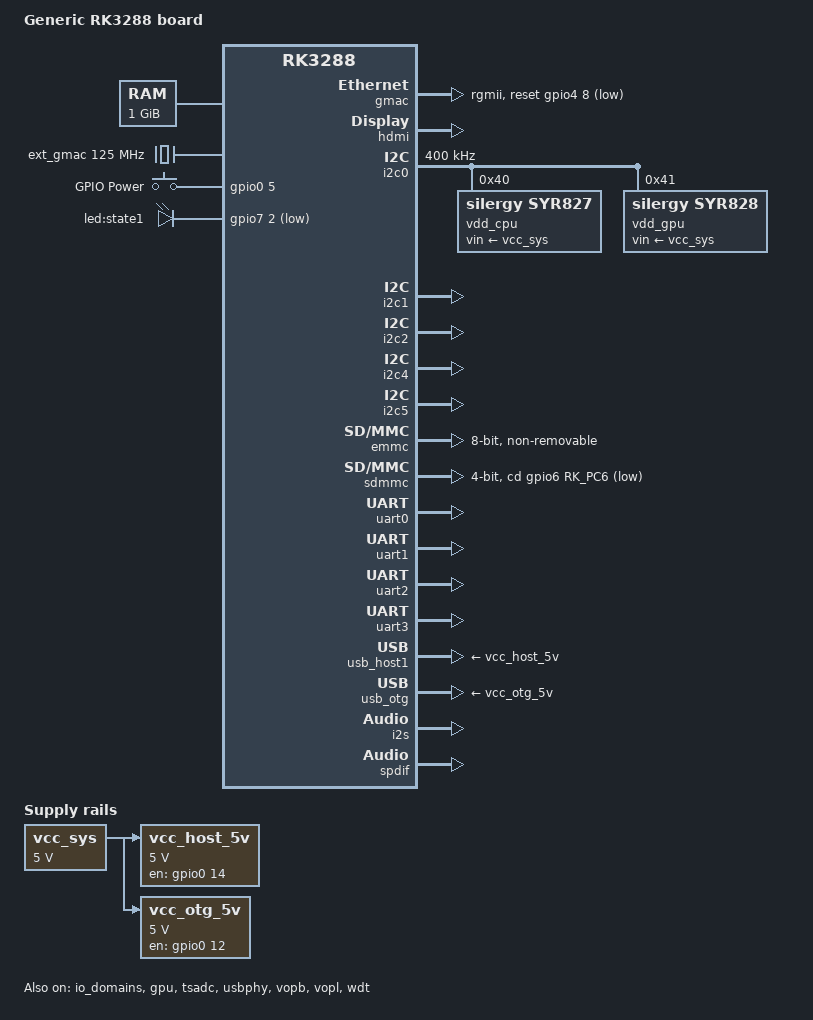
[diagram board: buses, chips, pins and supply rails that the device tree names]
/*
 * Copyright (c) 2014, 2015 FUKAUMI Naoki <naobsd@gmail.com>
 * 					   2018 Paolo Sabatino <paolo.sabatino@gm**l.com>
 *
 * This file is dual-licensed: you can use it either under the terms
 * of the GPL or the X11 license, at your option. Note that this dual
 * licensing only applies to this file, and not this project as a
 * whole.
 *
 *  a) This file is free software; you can redistribute it and/or
 *     modify it under the terms of the GNU General Public License as
 *     published by the Free Software Foundation; either version 2 of the
 *     License, or (at your option) any later version.
 *
 *     This file is distributed in the hope that it will be useful,
 *     but WITHOUT ANY WARRANTY; without even the implied warranty of
 *     MERCHANTABILITY or FITNESS FOR A PARTICULAR PURPOSE.  See the
 *     GNU General Public License for more details.
 *
 * Or, alternatively,
 *
 *  b) Permission is hereby granted, free of charge, to any person
 *     obtaining a copy of this software and associated documentation
 *     files (the "Software"), to deal in the Software without
 *     restriction, including without limitation the rights to use,
 *     copy, modify, merge, publish, distribute, sublicense, and/or
 *     sell copies of the Software, and to permit persons to whom the
 *     Software is furnished to do so, subject to the following
 *     conditions:
 *
 *     The above copyright notice and this permission notice shall be
 *     included in all copies or substantial portions of the Software.
 *
 *     THE SOFTWARE IS PROVIDED "AS IS", WITHOUT WARRANTY OF ANY KIND,
 *     EXPRESS OR IMPLIED, INCLUDING BUT NOT LIMITED TO THE WARRANTIES
 *     OF MERCHANTABILITY, FITNESS FOR A PARTICULAR PURPOSE AND
 *     NONINFRINGEMENT. IN NO EVENT SHALL THE AUTHORS OR COPYRIGHT
 *     HOLDERS BE LIABLE FOR ANY CLAIM, DAMAGES OR OTHER LIABILITY,
 *     WHETHER IN AN ACTION OF CONTRACT, TORT OR OTHERWISE, ARISING
 *     FROM, OUT OF OR IN CONNECTION WITH THE SOFTWARE OR THE USE OR
 *     OTHER DEALINGS IN THE SOFTWARE.
 */

/dts-v1/;

#include "rk3288.dtsi"
#include <dt-bindings/input/input.h>

/ {
	model = "Generic RK3288 board";
	compatible = "rockchip,rk3288";

	memory@0 {
		reg = <0x0 0x0 0x0 0x40000000>;
		device_type = "memory";
	};

	ext_gmac: external-gmac-clock {
		compatible = "fixed-clock";
		#clock-cells = <0>;
		clock-frequency = <125000000>;
		clock-output-names = "ext_gmac";
	};

	keys: gpio-keys {
		compatible = "gpio-keys";
		#address-cells = <1>;
		#size-cells = <0>;

		pinctrl-names = "default";
		pinctrl-0 = <&pwr_key>;

		button@0 {
			gpio-key,wakeup = <1>;
			gpios = <&gpio0 5 GPIO_ACTIVE_HIGH>;
			label = "GPIO Power";
			linux,code = <KEY_POWER>;
			wakeup-source;
			debounce-interval = <100>;
		};

	};

	leds {
		compatible = "gpio-leds";

		power {
			/*
				Power led is active high, but we set it here active low
				so while there is mass storage access it turns red and
				when it is idle is blue
			*/
			gpios = <&gpio7 2 GPIO_ACTIVE_LOW>;
			label = "led:state1";
			linux,default-trigger = "timer";
			pinctrl-names = "default";
			pinctrl-0 = <&power_led>;
		};

	};

	vcc_sys: vsys-regulator {
		compatible = "regulator-fixed";
		regulator-name = "vcc_sys";
		regulator-min-microvolt = <5000000>;
		regulator-max-microvolt = <5000000>;
		regulator-always-on;
		regulator-boot-on;
	};

	vcc_host_5v: usb-host-regulator {
		compatible = "regulator-fixed";
		gpio = <&gpio0 14 GPIO_ACTIVE_HIGH>;
		regulator-name = "vcc_host_5v";
		regulator-min-microvolt = <5000000>;
		regulator-max-microvolt = <5000000>;
		regulator-boot-on;
		enable-active-high;
		vin-supply = <&vcc_sys>;
	};


	vcc_otg_5v: usb-otg-regulator {
		compatible = "regulator-fixed";
		gpio = <&gpio0 12 GPIO_ACTIVE_HIGH>;
		regulator-name = "vcc_otg_5v";
		regulator-min-microvolt = <5000000>;
		regulator-max-microvolt = <5000000>;
		regulator-boot-on;
		enable-active-high;
		vin-supply = <&vcc_sys>;
	};

};


&io_domains {
	status = "okay";

};

&cpu0 {
	cpu0-supply = <&vdd_cpu>;
};

&gmac {
	assigned-clocks = <&cru SCLK_MAC>;
	assigned-clock-parents = <&ext_gmac>;
	clock_in_out = "input";
	pinctrl-names = "default";
	pinctrl-0 = <&rgmii_pins>, <&phy_rst>, <&phy_pmeb>, <&phy_int>;
	phy-mode = "rgmii";
	snps,reset-active-low;
	snps,reset-delays-us = <0 10000 1000000>;
	snps,reset-gpio = <&gpio4 8 GPIO_ACTIVE_LOW>;
	tx_delay = <0x30>;
	rx_delay = <0x10>;
	status = "okay";
};

&hdmi {
	ddc-i2c-bus = <&i2c5>;
	status = "okay";
};

&gpu {
	mali-supply = <&vdd_gpu>;
	status = "okay";
};

&i2c0 {
	clock-frequency = <400000>;
	status = "okay";

	vdd_cpu: syr827@40 {
		compatible = "silergy,syr827";
		fcs,suspend-voltage-selector = <1>;
		reg = <0x40>;
		regulator-name = "vdd_cpu";
		regulator-min-microvolt = <850000>;
		regulator-max-microvolt = <1350000>;
		regulator-ramp-delay = <8000>;
		regulator-always-on;
		regulator-boot-on;
		vin-supply = <&vcc_sys>;
		regulator-state-mem {
			regulator-off-in-suspend;
		};
	};

	vdd_gpu: syr828@41 {
		compatible = "silergy,syr828";
		fcs,suspend-voltage-selector = <1>;
		reg = <0x41>;
		regulator-name = "vdd_gpu";
		regulator-min-microvolt = <850000>;
		regulator-max-microvolt = <1350000>;
		regulator-ramp-delay = <8000>;
		regulator-always-on;
		vin-supply = <&vcc_sys>;
		regulator-state-mem {
			regulator-off-in-suspend;
		};
	};


};

&i2c1 {
	status = "okay";
};

&i2c2 {
	status = "okay";
};

&i2c4 {
	status = "okay";
};

&i2c5 {
	status = "okay";
};

&pinctrl {

	/*
		These two lines here, these must be commented out! Otherwise for some reason the kernel
		does not see the boot device anymore and will stay stuck in initramfs!
		On the contrary, these are required by u-boot to keep the power holding so the device does not
		automatically turns off after a small timeout
	*/
	/*pinctrl-names = "default";*/
	/*pinctrl-0 = <&pwr_hold>;*/

	pcfg_output_high: pcfg-output-high {
		output-high;
	};

	pcfg_output_low: pcfg-output-low {
		output-low;
	};

	pcfg_wl: pcfg-wl {
		bias-pull-up;
		drive-strength = <8>;
	};

	pcfg_pull_up_drv_8ma: pcfg-pull-up-drv-8ma {
		bias-pull-up;
		drive-strength = <8>;
	};

	pcfg_pull_none_8ma: pcfg-pull-none-8ma {
		bias-disable;
		drive-strength = <8>;
	};

	pcfg_wl_clk: pcfg-wl-clk {
		bias-disable;
		drive-strength = <12>;
	};

	pcfg_wl_int: pcfg-wl-int {
		bias-pull-up;
	};

	gmac {
		phy_int: phy-int {
			rockchip,pins = <0 9 RK_FUNC_GPIO &pcfg_pull_up>;
		};

		phy_pmeb: phy-pmeb {
			rockchip,pins = <0 8 RK_FUNC_GPIO &pcfg_pull_up>;
		};

		phy_rst: phy-rst {
			rockchip,pins = <4 8 RK_FUNC_GPIO &pcfg_output_high>;
		};
	};

	hym8563 {
		rtc_int: rtc-int {
			rockchip,pins = <0 4 RK_FUNC_GPIO &pcfg_pull_up>;
		};
	};

	keys {
		pwr_key: pwr-key {
			rockchip,pins = <0 5 RK_FUNC_GPIO &pcfg_pull_none>;
		};
	};

	leds {
		power_led: power-led {
			rockchip,pins = <7 2 RK_FUNC_GPIO &pcfg_pull_none>;
		};
	};

	ir {
		ir_int: ir-int {
			rockchip,pins = <7 0 RK_FUNC_GPIO &pcfg_pull_up>;
		};
	};

	sdmmc {

		/*
		 * Copied from firefly board definition to give more drive to
		 * the sdmmc pins. The Q8 seems to be quite able to drive
		 * ultra high speed uSD cards, so we give a bit more energy
		 * to the gpio pins
		 */
		sdmmc_bus4: sdmmc-bus4 {
			rockchip,pins = <6 16 RK_FUNC_1 &pcfg_pull_up_drv_8ma>,
					<6 17 RK_FUNC_1 &pcfg_pull_up_drv_8ma>,
					<6 18 RK_FUNC_1 &pcfg_pull_up_drv_8ma>,
					<6 19 RK_FUNC_1 &pcfg_pull_up_drv_8ma>;
		};

		sdmmc_clk: sdmmc-clk {
			rockchip,pins = <6 20 RK_FUNC_1 &pcfg_pull_none_8ma>;
		};

		sdmmc_cmd: sdmmc-cmd {
			rockchip,pins = <6 21 RK_FUNC_1 &pcfg_pull_up_drv_8ma>;
		};

		sdmmc_pwr: sdmmc-pwr {
			rockchip,pins = <7 11 RK_FUNC_GPIO &pcfg_pull_none>;
		};

	};

	usb_host1 {
		host_vbus_drv: host-vbus-drv {
			rockchip,pins = <0 14 RK_FUNC_GPIO &pcfg_pull_none>;
		};

	};

	usb_otg {
		otg_vbus_drv: otg-vbus-drv {
			rockchip,pins = <0 12 RK_FUNC_GPIO &pcfg_pull_none>;
		};
	};

	wireless-bluetooth {
		uart0_gpios: uart0-gpios {
			rockchip,pins = <4 19 RK_FUNC_GPIO &pcfg_pull_none>;
		};
	};

	emmc {

		emmc_reset: emmc-reset {
			rockchip,pins = <3 RK_PB1 RK_FUNC_GPIO &pcfg_pull_none>;
		};

	};

};

&emmc {

	/*
	 * eMMC is a 52Mhz DDR device on q8 devices, so set it here.
	 * Setting default-sample-rate to 180 degrees is very important,
	 * otherwise the eMMC is not stable and may not be able to negotiate
	 * the right clock.
	 * Despite the code already seems to use 180 degree phase when
	 * MMC + 8bit bus is set, we need to set default phase here too.
	 *
	 * Huge hint came from this patch:
	 * https://patchwork.kernel.org/patch/11129183/
	 *
	 */
	broken-cd;
	bus-width = <8>;
	cap-mmc-highspeed;

	disable-wp;
	non-removable;
	pinctrl-names = "default";
	pinctrl-0 = <&emmc_clk>, <&emmc_cmd>, <&emmc_bus8>;

	status = "okay";
};

&sdmmc {
	supports-sd;

	bus-width = <4>;
	cap-mmc-highspeed;
	cap-sd-highspeed;
	cd-gpios = <&gpio6 RK_PC6 GPIO_ACTIVE_LOW>;
	cd-debounce-delay-ms = <500>;
	disable-wp;
	pinctrl-names = "default";
	pinctrl-0 = <&sdmmc_clk>, <&sdmmc_cmd>, <&sdmmc_cd>, <&sdmmc_bus4>;

	status = "okay";
};

&tsadc {
	rockchip,hw-tshut-mode = <0>;
	rockchip,hw-tshut-polarity = <0>;
	status = "okay";
};

/*
 * These dmas described here for uarts are present in original q8 board
 * dts, so I replicate them here because documentation says that serial
 * ports can have dmas.
 * note:
 *  - uart0 is the serial port connected to the bluetooth module
 *  - uart2 is the onboard serial port
 *
 * As ok kernel 4.19 DMA for serial ports is disabled because it makes
 * the ports unusable
 *
 */
&uart0 {
	pinctrl-names = "default";
	pinctrl-0 = <&uart0_xfer>, <&uart0_cts>, <&uart0_rts>;
	//dmas = <&dmac_peri 1 &dmac_peri 2>;
	//dma-names = "tx", "rx";
	status = "okay";
};

&uart1 {
	//dmas = <&dmac_peri 3 &dmac_peri 4>;
	//dma-names = "tx", "rx";
	status = "okay";
};

&uart2 {
	//dmas = <&dmac_bus_s 4 &dmac_bus_s 5>;
	//dma-names = "tx", "rx";
	status = "okay";
};

&uart3 {
	//dmas = <&dmac_peri 7 &dmac_peri 8>;
	//dma-names = "tx", "rx";
	status = "okay";
};

&uart4 {
	//dmas = <&dmac_peri 9 &dmac_peri 10>;
	//dma-names = "tx", "rx";
	status = "disabled";
};

/*
 * Here usbphy* should have their proper reset lines described in rk3288.dtsi
 * Describing resets for usb phy is important because otherwise the USB
 * port gets stuck in case it goes into autosuspend: plugging any device
 * when the port is autosuspended will actually kill the port itself and
 * require a power cycle.
 * This is required for the usbphy1 phy, nonetheless it is a good idea to
 * specify the proper resources for all the phys though.
 * The reference patch which works in conjuction with the reset lines:
 * https://patchwork.kernel.org/patch/9469811/
 *
 */
&usbphy {
	status = "okay";
};

&usb_host0_ehci {
	dr_mode = "host";
	reg = <0x0 0xff500000 0x0 0x20000>;
	status = "disable";
};

&usb_host1 {
	vbus-supply = <&vcc_host_5v>;
	status = "okay";
};

&usb_otg {
	vbus-supply = <&vcc_otg_5v>;
	status = "okay";
};

/*
 * Enable VPU services and complete the relative IOMMU configurations
 */
&vopb {
	status = "okay";
};

&vopb_mmu {
	status = "okay";
};

&vopl {
	status = "okay";
};

&vopl_mmu {
	status = "okay";
};

&vpu_mmu {
	status = "okay";
};

&hevc_mmu {
	status = "okay";
};

&wdt {
	status = "okay";
};

// i2s bus is present on q8 device, enable it
&i2s {
	#sound-dai-cells = <0>;
	status = "okay";
};

// spdif is present on q8 device, enable it
&spdif {
	status = "okay";
};

/*
 * Redefine some thermals to give a bit more headroom (+5°C)
 */
&cpu_alert0 {
	temperature = <75000>;
};

&cpu_alert1 {
	temperature = <80000>;
};

&gpu_alert0 {
	temperature = <75000>;
};

/*
 * Retouch the operating points for higher frequencies to reduce
 * the voltage required
 */
&cpu_opp_table {
	opp-1512000000 {
		opp-microvolt = <1250000>;
	};

	opp-1608000000 {
		opp-microvolt = <1300000>;
	};

	/*
		Remove the overclocking/turbo frequencies
	*/
	/delete-node/ opp@1704000000;
	/delete-node/ opp@1800000000;
	/delete-node/ opp@1896000000;
	/delete-node/ opp@1920000000;
	/delete-node/ opp@1992000000;
	/delete-node/ opp@2016000000;
	/delete-node/ opp@2040000000;
	/delete-node/ opp@2064000000;
	/delete-node/ opp@2088000000;
	/delete-node/ opp@2112000000;
	/delete-node/ opp@2136000000;
	/delete-node/ opp@2160000000;
	/delete-node/ opp@2184000000;
	/delete-node/ opp@2208000000;


};

&gpu_opp_table {

	opp-500000000 {
		opp-hz = /bits/ 64 <500000000>;
		opp-microvolt = <1150000>;
	};

	opp-600000000 {
		status = "disabled";
	};

};
